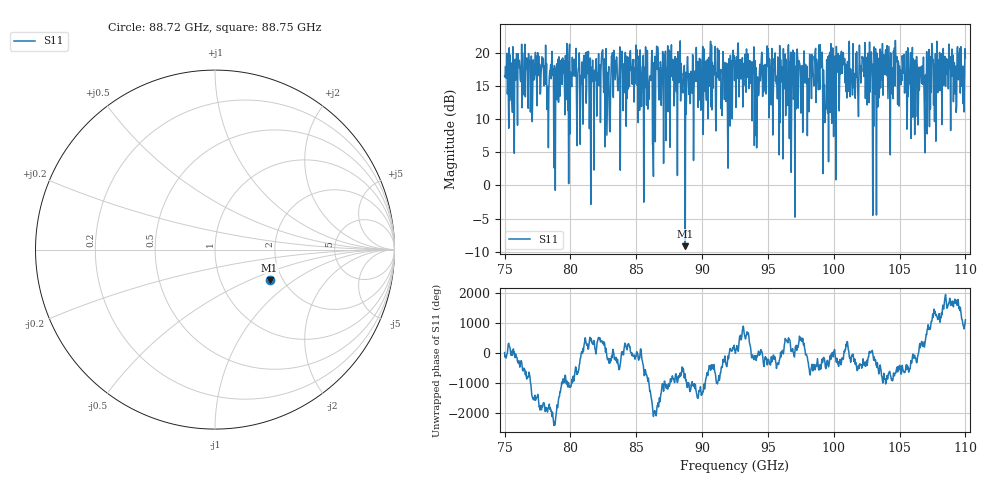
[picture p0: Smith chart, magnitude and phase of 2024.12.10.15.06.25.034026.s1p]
! Created with skrf (http://scikit-rf.org).
# GHz S RI R 50.0
!freq ReS11 ImS11
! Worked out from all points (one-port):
!   1001 points, 75 GHz to 110 GHz, reference 50 ohm
!   lowest |S11| = -9.2 dB at 88.72 GHz (marker M1), VSWR 2.07, Z = 85.8 - j32.9 ohm
!   |S11| at or under -10 dB: nowhere
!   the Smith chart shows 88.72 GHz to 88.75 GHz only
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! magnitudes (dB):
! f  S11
! 75 GHz  16.5
! 78.01 GHz  15.0
! 78.92 GHz  16.4
! 79.38 GHz  15.2
! 81.19 GHz  12.4
! 81.61 GHz  17.8
! 82.28 GHz  9.5
! 82.91 GHz  17.9
! 83.26 GHz  13.3
! 83.75 GHz  20.9
! 86.27 GHz  5.7
! 86.66 GHz  19.8
! 88.12 GHz  1.5
! 88.72 GHz  -9.2
! 90.54 GHz  17.1
! 92.11 GHz  9.0
! 92.5 GHz  18.8
! 96.88 GHz  16.8
! 97.36 GHz  18.8
! 98.97 GHz  21.2
! 99.36 GHz  11.8
! 100.7 GHz  16.9
! 101.2 GHz  13.4
! 102.3 GHz  17.2
! 103.1 GHz  20.9
! 103.9 GHz  16.7
! 105.6 GHz  20.8
! 110 GHz  19.2
